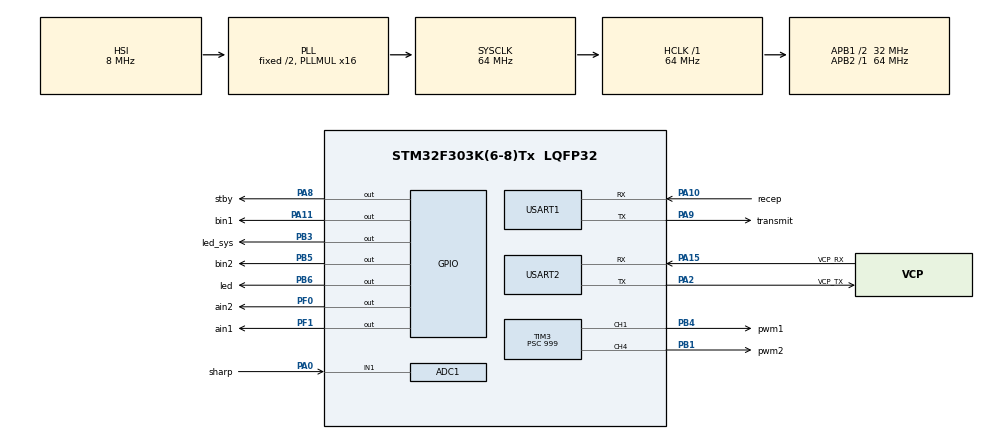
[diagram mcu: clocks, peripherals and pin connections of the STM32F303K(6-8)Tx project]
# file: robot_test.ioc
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ADC1.Channel-0\#ChannelRegularConversion=ADC_CHANNEL_1
ADC1.ClockPrescaler=ADC_CLOCK_ASYNC_DIV1
ADC1.ContinuousConvMode=DISABLE
ADC1.DMAContinuousRequests=DISABLE
ADC1.ExternalTrigConv=ADC_SOFTWARE_START
ADC1.NbrOfConversionFlag=1
ADC1.Offset-0\#ChannelRegularConversion=0
ADC1.OffsetNumber-0\#ChannelRegularConversion=ADC_OFFSET_NONE
ADC1.Rank-0\#ChannelRegularConversion=1
ADC1.SamplingTime-0\#ChannelRegularConversion=ADC_SAMPLETIME_7CYCLES_5
ADC1.SubFamily=STM32F303x8
ADC1.master=1
FREERTOS.Tasks01=defaultTask,0,128,StartDefaultTask,Default,NULL,Dynamic,NULL,NULL;motor_task,-3,256,motor,As weak,NULL,Dynamic,NULL,NULL;adc_dma_task,-3,256,adcControl,As weak,NULL,Dynamic,NULL,NULL;uart_task,-3,256,uart,As weak,NULL,Dynamic,NULL,NULL
FREERTOS.configTOTAL_HEAP_SIZE=9216
Mcu.Family=STM32F3
Mcu.Name=STM32F303K(6-8)Tx
Mcu.Package=LQFP32
NVIC.ADC1_2_IRQn=true\:5\:0\:false\:false\:true\:true
NVIC.PriorityGroup=NVIC_PRIORITYGROUP_4
NVIC.TIM1_BRK_TIM15_IRQn=true\:0\:0\:false\:false\:true\:false
NVIC.TimeBase=TIM1_BRK_TIM15_IRQn
NVIC.TimeBaseIP=TIM15
PA0.GPIO_Label=sharp
PA0.Mode=IN1-Single-Ended
PA0.Signal=ADC1_IN1
PA10.GPIO_Label=recep
PA10.Mode=Asynchronous
PA10.Signal=USART1_RX
PA11.GPIO_Label=bin1
PA11.Signal=GPIO_Output
PA13.GPIO_Label=SWDIO
PA13.Signal=SYS_JTMS-SWDIO
PA14.GPIO_Label=SWCLK
PA14.Signal=SYS_JTCK-SWCLK
PA15.GPIO_Label=VCP_RX
PA15.Mode=Asynchronous
PA15.Signal=USART2_RX
PA2.GPIO_Label=VCP_TX
PA2.Mode=Asynchronous
PA2.Signal=USART2_TX
PA8.GPIO_Label=stby
PA8.Signal=GPIO_Output
PA9.GPIO_Label=transmit
PA9.Mode=Asynchronous
PA9.Signal=USART1_TX
PB1.GPIO_Label=pwm2
PB1.Signal=S_TIM3_CH4
PB3.GPIO_Label=led_sys
PB3.Signal=GPIO_Output
PB4.GPIO_Label=pwm1
PB4.Signal=S_TIM3_CH1
PB5.GPIO_Label=bin2
PB5.Signal=GPIO_Output
PB6.GPIO_Label=led
PB6.GPIO_ModeDefaultOutputPP=GPIO_MODE_OUTPUT_OD
PB6.Signal=GPIO_Output
PF0\ /\ OSC_IN.GPIO_Label=ain2
PF0\ /\ OSC_IN.Signal=GPIO_Output
PF1\ /\ OSC_OUT.GPIO_Label=ain1
PF1\ /\ OSC_OUT.Signal=GPIO_Output
ProjectManager.HeapSize=0x200
ProjectManager.StackSize=0x400
ProjectManager.TargetToolchain=Makefile
RCC.AHBFreq_Value=64000000
RCC.APB1CLKDivider=RCC_HCLK_DIV2
RCC.APB1Freq_Value=32000000
RCC.APB1TimFreq_Value=64000000
RCC.APB2Freq_Value=64000000
RCC.APB2TimFreq_Value=64000000
RCC.CortexFreq_Value=64000000
RCC.HCLKFreq_Value=64000000
RCC.HSE_VALUE=8000000
RCC.HSI_VALUE=8000000
RCC.PLLMUL=RCC_PLL_MUL16
RCC.SYSCLKFreq_VALUE=64000000
RCC.SYSCLKSourceVirtual=RCC_SYSCLKSOURCE_PLLCLK
SH.S_TIM3_CH1.0=TIM3_CH1,PWM Generation1 CH1
SH.S_TIM3_CH4.0=TIM3_CH4,PWM Generation4 CH4
TIM3.Channel-PWM\ Generation1\ CH1=TIM_CHANNEL_1
TIM3.Channel-PWM\ Generation4\ CH4=TIM_CHANNEL_4
TIM3.ClockDivision=TIM_CLOCKDIVISION_DIV1
TIM3.Period=639
TIM3.Prescaler=999
TIM3.Pulse-PWM\ Generation1\ CH1=319
TIM3.Pulse-PWM\ Generation4\ CH4=319
USART1.VirtualMode-Asynchronous=VM_ASYNC
USART2.VirtualMode-Asynchronous=VM_ASYNC
VP_FREERTOS_VS_ENABLE.Mode=Enabled
VP_SYS_VS_tim15.Mode=TIM15
board=NUCLEO-F303K8

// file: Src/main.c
/**
  ******************************************************************************
  * File Name          : main.c
  * Description        : Main program body
  ******************************************************************************
  * This notice applies to any and all portions of this file
  * that are not between comment pairs USER CODE BEGIN and
  * USER CODE END. Other portions of this file, whether
  * inserted by the user or by software development tools
  * are owned by their respective copyright owners.
  *
  * Copyright (c) 2017 STMicroelectronics International N.V.
  * All rights reserved.
  *
  * Redistribution and use in source and binary forms, with or without
  * modification, are permitted, provided that the following conditions are met:
  *
  * 1. Redistribution of source code must retain the above copyright notice,
  *    this list of conditions and the following disclaimer.
  * 2. Redistributions in binary form must reproduce the above copyright notice,
  *    this list of conditions and the following disclaimer in the documentation
  *    and/or other materials provided with the distribution.
  * 3. Neither the name of STMicroelectronics nor the names of other
  *    contributors to this software may be used to endorse or promote products
  *    derived from this software without specific written permission.
  * 4. This software, including modifications and/or derivative works of this
  *    software, must execute solely and exclusively on microcontroller or
  *    microprocessor devices manufactured by or for STMicroelectronics.
  * 5. Redistribution and use of this software other than as permitted under
  *    this license is void and will automatically terminate your rights under
  *    this license.
  *
  * THIS SOFTWARE IS PROVIDED BY STMICROELECTRONICS AND CONTRIBUTORS "AS IS"
  * AND ANY EXPRESS, IMPLIED OR STATUTORY WARRANTIES, INCLUDING, BUT NOT
  * LIMITED TO, THE IMPLIED WARRANTIES OF MERCHANTABILITY, FITNESS FOR A
  * PARTICULAR PURPOSE AND NON-INFRINGEMENT OF THIRD PARTY INTELLECTUAL PROPERTY
  * RIGHTS ARE DISCLAIMED TO THE FULLEST EXTENT PERMITTED BY LAW. IN NO EVENT
  * SHALL STMICROELECTRONICS OR CONTRIBUTORS BE LIABLE FOR ANY DIRECT, INDIRECT,
  * INCIDENTAL, SPECIAL, EXEMPLARY, OR CONSEQUENTIAL DAMAGES (INCLUDING, BUT NOT
  * LIMITED TO, PROCUREMENT OF SUBSTITUTE GOODS OR SERVICES; LOSS OF USE, DATA,
  * OR PROFITS; OR BUSINESS INTERRUPTION) HOWEVER CAUSED AND ON ANY THEORY OF
  * LIABILITY, WHETHER IN CONTRACT, STRICT LIABILITY, OR TORT (INCLUDING
  * NEGLIGENCE OR OTHERWISE) ARISING IN ANY WAY OUT OF THE USE OF THIS SOFTWARE,
  * EVEN IF ADVISED OF THE POSSIBILITY OF SUCH DAMAGE.
  *
  ******************************************************************************
  */
#include "main.h"
#include "stm32f3xx_hal.h"
#include "cmsis_os.h"

ADC_HandleTypeDef hadc1;

TIM_HandleTypeDef htim3;

UART_HandleTypeDef huart1;
UART_HandleTypeDef huart2;

osThreadId defaultTaskHandle;
osThreadId motor_taskHandle;
osThreadId adc_dma_taskHandle;
osThreadId uart_taskHandle;

/* USER CODE BEGIN PV */
/* Private variables ---------------------------------------------------------*/

/* USER CODE END PV */

void SystemClock_Config(void);
static void MX_GPIO_Init(void);
static void MX_TIM3_Init(void);
static void MX_ADC1_Init(void);
static void MX_USART2_UART_Init(void);
static void MX_USART1_UART_Init(void);
void StartDefaultTask(void const * argument);
void motor(void const * argument);
void adcControl(void const * argument);
void uart(void const * argument);

void HAL_TIM_MspPostInit(TIM_HandleTypeDef *htim);

/* USER CODE BEGIN PFP */
/* Private function prototypes -----------------------------------------------*/

/* USER CODE END PFP */

int main(void)
{

  /* MCU Configuration----------------------------------------------------------*/

  /* Reset of all peripherals, Initializes the Flash interface and the Systick. */
  HAL_Init();

  /* Configure the system clock */
  SystemClock_Config();

  /* Initialize all configured peripherals */
  MX_GPIO_Init();
  MX_TIM3_Init();
  MX_ADC1_Init();
  MX_USART2_UART_Init();
  MX_USART1_UART_Init();

  /* Create the thread(s) */
  /* definition and creation of defaultTask */
  osThreadDef(defaultTask, StartDefaultTask, osPriorityNormal, 0, 128);
  defaultTaskHandle = osThreadCreate(osThread(defaultTask), NULL);

  /* definition and creation of motor_task */
  osThreadDef(motor_task, motor, osPriorityIdle, 0, 256);
  motor_taskHandle = osThreadCreate(osThread(motor_task), NULL);

  /* definition and creation of adc_dma_task */
  osThreadDef(adc_dma_task, adcControl, osPriorityIdle, 0, 256);
  adc_dma_taskHandle = osThreadCreate(osThread(adc_dma_task), NULL);

  /* definition and creation of uart_task */
  osThreadDef(uart_task, uart, osPriorityIdle, 0, 256);
  uart_taskHandle = osThreadCreate(osThread(uart_task), NULL);

  /* Start scheduler */
  osKernelStart();

  /* We should never get here as control is now taken by the scheduler */

  /* Infinite loop */
  while (1)
  {

  }

}

/** System Clock Configuration
*/
void SystemClock_Config(void)
{

  RCC_OscInitTypeDef RCC_OscInitStruct;
  RCC_ClkInitTypeDef RCC_ClkInitStruct;
  RCC_PeriphCLKInitTypeDef PeriphClkInit;

    /**Initializes the CPU, AHB and APB busses clocks
    */
  RCC_OscInitStruct.OscillatorType = RCC_OSCILLATORTYPE_HSI;
  RCC_OscInitStruct.HSIState = RCC_HSI_ON;
  RCC_OscInitStruct.HSICalibrationValue = 16;
  RCC_OscInitStruct.PLL.PLLState = RCC_PLL_ON;
  RCC_OscInitStruct.PLL.PLLSource = RCC_PLLSOURCE_HSI;
  RCC_OscInitStruct.PLL.PLLMUL = RCC_PLL_MUL16;
  if (HAL_RCC_OscConfig(&RCC_OscInitStruct) != HAL_OK)
  {
    _Error_Handler(__FILE__, __LINE__);
  }

    /**Initializes the CPU, AHB and APB busses clocks
    */
  RCC_ClkInitStruct.ClockType = RCC_CLOCKTYPE_HCLK|RCC_CLOCKTYPE_SYSCLK
                              |RCC_CLOCKTYPE_PCLK1|RCC_CLOCKTYPE_PCLK2;
  RCC_ClkInitStruct.SYSCLKSource = RCC_SYSCLKSOURCE_PLLCLK;
  RCC_ClkInitStruct.AHBCLKDivider = RCC_SYSCLK_DIV1;
  RCC_ClkInitStruct.APB1CLKDivider = RCC_HCLK_DIV2;
  RCC_ClkInitStruct.APB2CLKDivider = RCC_HCLK_DIV1;

  if (HAL_RCC_ClockConfig(&RCC_ClkInitStruct, FLASH_LATENCY_2) != HAL_OK)
  {
    _Error_Handler(__FILE__, __LINE__);
  }

  PeriphClkInit.PeriphClockSelection = RCC_PERIPHCLK_USART1|RCC_PERIPHCLK_ADC12;
  PeriphClkInit.Usart1ClockSelection = RCC_USART1CLKSOURCE_PCLK1;
  PeriphClkInit.Adc12ClockSelection = RCC_ADC12PLLCLK_DIV1;
  if (HAL_RCCEx_PeriphCLKConfig(&PeriphClkInit) != HAL_OK)
  {
    _Error_Handler(__FILE__, __LINE__);
  }

    /**Configure the Systick interrupt time
    */
  HAL_SYSTICK_Config(HAL_RCC_GetHCLKFreq()/1000);

    /**Configure the Systick
    */
  HAL_SYSTICK_CLKSourceConfig(SYSTICK_CLKSOURCE_HCLK);

  /* SysTick_IRQn interrupt configuration */
  HAL_NVIC_SetPriority(SysTick_IRQn, 15, 0);
}

/* ADC1 init function */
static void MX_ADC1_Init(void)
{

  ADC_MultiModeTypeDef multimode;
  ADC_ChannelConfTypeDef sConfig;

    /**Common config
    */
  hadc1.Instance = ADC1;
  hadc1.Init.ClockPrescaler = ADC_CLOCK_ASYNC_DIV1;
  hadc1.Init.Resolution = ADC_RESOLUTION_12B;
  hadc1.Init.ScanConvMode = ADC_SCAN_DISABLE;
  hadc1.Init.ContinuousConvMode = DISABLE;
  hadc1.Init.DiscontinuousConvMode = DISABLE;
  hadc1.Init.ExternalTrigConvEdge = ADC_EXTERNALTRIGCONVEDGE_NONE;
  hadc1.Init.ExternalTrigConv = ADC_SOFTWARE_START;
  hadc1.Init.DataAlign = ADC_DATAALIGN_RIGHT;
  hadc1.Init.NbrOfConversion = 1;
  hadc1.Init.DMAContinuousRequests = DISABLE;
  hadc1.Init.EOCSelection = ADC_EOC_SINGLE_CONV;
  hadc1.Init.LowPowerAutoWait = DISABLE;
  hadc1.Init.Overrun = ADC_OVR_DATA_OVERWRITTEN;
  if (HAL_ADC_Init(&hadc1) != HAL_OK)
  {
    _Error_Handler(__FILE__, __LINE__);
  }

    /**Configure the ADC multi-mode
    */
  multimode.Mode = ADC_MODE_INDEPENDENT;
  if (HAL_ADCEx_MultiModeConfigChannel(&hadc1, &multimode) != HAL_OK)
  {
    _Error_Handler(__FILE__, __LINE__);
  }

    /**Configure Regular Channel
    */
  sConfig.Channel = ADC_CHANNEL_1;
  sConfig.Rank = 1;
  sConfig.SingleDiff = ADC_SINGLE_ENDED;
  sConfig.SamplingTime = ADC_SAMPLETIME_7CYCLES_5;
  sConfig.OffsetNumber = ADC_OFFSET_NONE;
  sConfig.Offset = 0;
  if (HAL_ADC_ConfigChannel(&hadc1, &sConfig) != HAL_OK)
  {
    _Error_Handler(__FILE__, __LINE__);
  }

}

/* TIM3 init function */
static void MX_TIM3_Init(void)
{

  TIM_MasterConfigTypeDef sMasterConfig;
  TIM_OC_InitTypeDef sConfigOC;

  htim3.Instance = TIM3;
  htim3.Init.Prescaler = 999;
  htim3.Init.CounterMode = TIM_COUNTERMODE_UP;
  htim3.Init.Period = 639;
  htim3.Init.ClockDivision = TIM_CLOCKDIVISION_DIV1;
  htim3.Init.AutoReloadPreload = TIM_AUTORELOAD_PRELOAD_DISABLE;
  if (HAL_TIM_PWM_Init(&htim3) != HAL_OK)
  {
    _Error_Handler(__FILE__, __LINE__);
  }

  sMasterConfig.MasterOutputTrigger = TIM_TRGO_RESET;
  sMasterConfig.MasterSlaveMode = TIM_MASTERSLAVEMODE_DISABLE;
  if (HAL_TIMEx_MasterConfigSynchronization(&htim3, &sMasterConfig) != HAL_OK)
  {
    _Error_Handler(__FILE__, __LINE__);
  }

  sConfigOC.OCMode = TIM_OCMODE_PWM1;
  sConfigOC.Pulse = 319;
  sConfigOC.OCPolarity = TIM_OCPOLARITY_HIGH;
  sConfigOC.OCFastMode = TIM_OCFAST_DISABLE;
  if (HAL_TIM_PWM_ConfigChannel(&htim3, &sConfigOC, TIM_CHANNEL_1) != HAL_OK)
  {
    _Error_Handler(__FILE__, __LINE__);
  }

  if (HAL_TIM_PWM_ConfigChannel(&htim3, &sConfigOC, TIM_CHANNEL_4) != HAL_OK)
  {
    _Error_Handler(__FILE__, __LINE__);
  }

  HAL_TIM_MspPostInit(&htim3);

}

/* USART1 init function */
static void MX_USART1_UART_Init(void)
{

  huart1.Instance = USART1;
  huart1.Init.BaudRate = 38400;
  huart1.Init.WordLength = UART_WORDLENGTH_7B;
  huart1.Init.StopBits = UART_STOPBITS_1;
  huart1.Init.Parity = UART_PARITY_NONE;
  huart1.Init.Mode = UART_MODE_TX_RX;
  huart1.Init.HwFlowCtl = UART_HWCONTROL_NONE;
  huart1.Init.OverSampling = UART_OVERSAMPLING_16;
  huart1.Init.OneBitSampling = UART_ONE_BIT_SAMPLE_DISABLE;
  huart1.AdvancedInit.AdvFeatureInit = UART_ADVFEATURE_NO_INIT;
  if (HAL_UART_Init(&huart1) != HAL_OK)
  {
    _Error_Handler(__FILE__, __LINE__);
  }

}

/* USART2 init function */
static void MX_USART2_UART_Init(void)
{

  huart2.Instance = USART2;
  huart2.Init.BaudRate = 38400;
  huart2.Init.StopBits = UART_STOPBITS_1;
  huart2.Init.Parity = UART_PARITY_NONE;
  huart2.Init.Mode = UART_MODE_TX_RX;
  huart2.Init.HwFlowCtl = UART_HWCONTROL_NONE;
  huart2.Init.OverSampling = UART_OVERSAMPLING_16;
  huart2.Init.OneBitSampling = UART_ONE_BIT_SAMPLE_DISABLE;
  huart2.AdvancedInit.AdvFeatureInit = UART_ADVFEATURE_NO_INIT;
  if (HAL_UART_Init(&huart2) != HAL_OK)
  {
    _Error_Handler(__FILE__, __LINE__);
  }

}

/** Configure pins as
        * Analog
        * Input
        * Output
        * EVENT_OUT
        * EXTI
*/
static void MX_GPIO_Init(void)
{

  GPIO_InitTypeDef GPIO_InitStruct;

  /* GPIO Ports Clock Enable */
  __HAL_RCC_GPIOF_CLK_ENABLE();
  __HAL_RCC_GPIOA_CLK_ENABLE();
  __HAL_RCC_GPIOB_CLK_ENABLE();

  /*Configure GPIO pin Output Level */
  HAL_GPIO_WritePin(GPIOF, ain2_Pin|ain1_Pin, GPIO_PIN_RESET);

  /*Configure GPIO pin Output Level */
  HAL_GPIO_WritePin(GPIOA, stby_Pin|bin1_Pin, GPIO_PIN_RESET);

  /*Configure GPIO pin Output Level */
  HAL_GPIO_WritePin(GPIOB, led_sys_Pin|bin2_Pin|led_Pin, GPIO_PIN_RESET);

  /*Configure GPIO pins : ain2_Pin ain1_Pin */
  GPIO_InitStruct.Pin = ain2_Pin|ain1_Pin;
  GPIO_InitStruct.Mode = GPIO_MODE_OUTPUT_PP;
  GPIO_InitStruct.Pull = GPIO_NOPULL;
  GPIO_InitStruct.Speed = GPIO_SPEED_FREQ_LOW;
  HAL_GPIO_Init(GPIOF, &GPIO_InitStruct);

  /*Configure GPIO pins : stby_Pin bin1_Pin */
  GPIO_InitStruct.Pin = stby_Pin|bin1_Pin;
  GPIO_InitStruct.Mode = GPIO_MODE_OUTPUT_PP;
  GPIO_InitStruct.Pull = GPIO_NOPULL;
  GPIO_InitStruct.Speed = GPIO_SPEED_FREQ_LOW;
  HAL_GPIO_Init(GPIOA, &GPIO_InitStruct);

  /*Configure GPIO pins : led_sys_Pin bin2_Pin */
  GPIO_InitStruct.Pin = led_sys_Pin|bin2_Pin;
  GPIO_InitStruct.Mode = GPIO_MODE_OUTPUT_PP;
  GPIO_InitStruct.Pull = GPIO_NOPULL;
  GPIO_InitStruct.Speed = GPIO_SPEED_FREQ_LOW;
  HAL_GPIO_Init(GPIOB, &GPIO_InitStruct);

  /*Configure GPIO pin : led_Pin */
  GPIO_InitStruct.Pin = led_Pin;
  GPIO_InitStruct.Mode = GPIO_MODE_OUTPUT_OD;
  GPIO_InitStruct.Pull = GPIO_NOPULL;
  GPIO_InitStruct.Speed = GPIO_SPEED_FREQ_LOW;
  HAL_GPIO_Init(led_GPIO_Port, &GPIO_InitStruct);

}

/* StartDefaultTask function */
void StartDefaultTask(void const * argument)
{

  /* USER CODE BEGIN 5 */
  /* Infinite loop */
  for(;;)
  {
    HAL_GPIO_TogglePin(led_GPIO_Port, led_Pin);
    osDelay(1000);
  }
  /* USER CODE END 5 */
}

/* motor function */
__weak void motor(void const * argument)
{
  for(;;)
  {
    osDelay(1);
  }
}

/* adcControl function */
__weak void adcControl(void const * argument)
{
  for(;;)
  {
    osDelay(1);
  }
}

/* uart function */
__weak void uart(void const * argument)
{
  for(;;)
  {
    osDelay(1);
  }
}

void HAL_TIM_PeriodElapsedCallback(TIM_HandleTypeDef *htim)
{
  if (htim->Instance == TIM15) {
    HAL_IncTick();
  }
}

void _Error_Handler(char * file, int line)
{
  while(1)
  {
  }
}

/************************ (C) COPYRIGHT STMicroelectronics *****END OF FILE****/

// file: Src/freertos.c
/**
  ******************************************************************************
  * File Name          : freertos.c
  * Description        : Code for freertos applications
  ******************************************************************************
  * This notice applies to any and all portions of this file
  * that are not between comment pairs USER CODE BEGIN and
  * USER CODE END. Other portions of this file, whether
  * inserted by the user or by software development tools
  * are owned by their respective copyright owners.
  *
  * Copyright (c) 2017 STMicroelectronics International N.V.
  * All rights reserved.
  *
  * Redistribution and use in source and binary forms, with or without
  * modification, are permitted, provided that the following conditions are met:
  *
  * 1. Redistribution of source code must retain the above copyright notice,
  *    this list of conditions and the following disclaimer.
  * 2. Redistributions in binary form must reproduce the above copyright notice,
  *    this list of conditions and the following disclaimer in the documentation
  *    and/or other materials provided with the distribution.
  * 3. Neither the name of STMicroelectronics nor the names of other
  *    contributors to this software may be used to endorse or promote products
  *    derived from this software without specific written permission.
  * 4. This software, including modifications and/or derivative works of this
  *    software, must execute solely and exclusively on microcontroller or
  *    microprocessor devices manufactured by or for STMicroelectronics.
  * 5. Redistribution and use of this software other than as permitted under
  *    this license is void and will automatically terminate your rights under
  *    this license.
  *
  * THIS SOFTWARE IS PROVIDED BY STMICROELECTRONICS AND CONTRIBUTORS "AS IS"
  * AND ANY EXPRESS, IMPLIED OR STATUTORY WARRANTIES, INCLUDING, BUT NOT
  * LIMITED TO, THE IMPLIED WARRANTIES OF MERCHANTABILITY, FITNESS FOR A
  * PARTICULAR PURPOSE AND NON-INFRINGEMENT OF THIRD PARTY INTELLECTUAL PROPERTY
  * RIGHTS ARE DISCLAIMED TO THE FULLEST EXTENT PERMITTED BY LAW. IN NO EVENT
  * SHALL STMICROELECTRONICS OR CONTRIBUTORS BE LIABLE FOR ANY DIRECT, INDIRECT,
  * INCIDENTAL, SPECIAL, EXEMPLARY, OR CONSEQUENTIAL DAMAGES (INCLUDING, BUT NOT
  * LIMITED TO, PROCUREMENT OF SUBSTITUTE GOODS OR SERVICES; LOSS OF USE, DATA,
  * OR PROFITS; OR BUSINESS INTERRUPTION) HOWEVER CAUSED AND ON ANY THEORY OF
  * LIABILITY, WHETHER IN CONTRACT, STRICT LIABILITY, OR TORT (INCLUDING
  * NEGLIGENCE OR OTHERWISE) ARISING IN ANY WAY OUT OF THE USE OF THIS SOFTWARE,
  * EVEN IF ADVISED OF THE POSSIBILITY OF SUCH DAMAGE.
  *
  ******************************************************************************
  */

#include "FreeRTOS.h"
#include "task.h"

/* USER CODE BEGIN Includes */
#include "cmsis_os.h"
#include "main.h"
#include "stm32f3xx_hal.h"

#include <time.h>
#include <stdlib.h>

#define PWM_MAX 320
#define DELAY 1000
#define OK 0x06
/* USER CODE END Includes */

/* USER CODE BEGIN Variables */
extern TIM_HandleTypeDef htim3;
extern ADC_HandleTypeDef hadc1;
extern UART_HandleTypeDef huart2;
extern UART_HandleTypeDef huart1;

int flag_adc = 0;
uint32_t adcValue = 0;

int deplacement_fini = 0;

int flag_haut = 0;
int flag_bas = 0;
int flag_droite = 0;
int flag_gauche = 0;

struct Robot {
    int posx;
    int posy;
    int orientation;
};

struct Robot robot1, robot2; // Nous sommes robot1 et l'autre robot est  robot2

/* USER CODE END Variables */

/* USER CODE BEGIN FunctionPrototypes */

/* BEGIN Fonctions pour les moteurs */
void alumer_gauche(int sens) {
    HAL_GPIO_WritePin(ain1_GPIO_Port, ain1_Pin, !sens);
    HAL_GPIO_WritePin(ain2_GPIO_Port, ain2_Pin, sens);
}

void alumer_droite(int sens) {
    HAL_GPIO_WritePin(bin1_GPIO_Port, bin1_Pin, !sens);
    HAL_GPIO_WritePin(bin2_GPIO_Port, bin2_Pin, sens);
}

void eteindre_gauche() {
    HAL_GPIO_WritePin(ain1_GPIO_Port, ain1_Pin, 0);
    HAL_GPIO_WritePin(ain2_GPIO_Port, ain2_Pin, 0);
}

void eteindre_droite() {
    HAL_GPIO_WritePin(bin1_GPIO_Port, bin1_Pin, 0);
    HAL_GPIO_WritePin(bin2_GPIO_Port, bin2_Pin, 0);
}

void pwm_max() {
    __HAL_TIM_SET_COMPARE(&htim3, TIM_CHANNEL_1, PWM_MAX);
    __HAL_TIM_SET_COMPARE(&htim3, TIM_CHANNEL_4, PWM_MAX);
}

void accelerer() {
    int pwm = 0;
    while (pwm != PWM_MAX) {
        __HAL_TIM_SET_COMPARE(&htim3, TIM_CHANNEL_1, pwm);
        __HAL_TIM_SET_COMPARE(&htim3, TIM_CHANNEL_4, pwm);
        pwm += 20;
        osDelay(50);
    }
}

void deccelerer() {
    int pwm = PWM_MAX;
    while (pwm != 0) {
        __HAL_TIM_SET_COMPARE(&htim3, TIM_CHANNEL_1, pwm);
        __HAL_TIM_SET_COMPARE(&htim3, TIM_CHANNEL_4, pwm);
        pwm -= 20;
        osDelay(50);
    }
}

void reculer_robot() {
    alumer_droite(1);
    alumer_gauche(1);
    accelerer();
    osDelay(1000);
    deccelerer();
    eteindre_droite();
    eteindre_gauche();
    deplacement_fini = 1;
}

void avancer_robot() {
    alumer_droite(0);
    alumer_gauche(0);
    accelerer();
    osDelay(1000);
    deccelerer();
    eteindre_droite();
    eteindre_gauche();
    deplacement_fini = 1;

}

void pivoter_gauche() {
    pwm_max();
    alumer_gauche(1);
    alumer_droite(0);
    osDelay(230);
    deccelerer();
    eteindre_droite();
    eteindre_gauche();
    deplacement_fini = 1;
}

void pivoter_droite() {
    pwm_max();
    alumer_droite(1);
    alumer_gauche(0);
    osDelay(220);
    deccelerer();
    eteindre_droite();
    eteindre_gauche();
    deplacement_fini = 1;
}
/* END Fonctions pour les moteurs */

/* BEGIN Fonctions ADC */
void HAL_ADC_ConvCpltCallback(ADC_HandleTypeDef *hadc) {
    UNUSED(hadc);
    adcValue = HAL_ADC_GetValue(hadc);
    flag_adc = 1;
}

int _write(int file, char *ptr, int len) {
    UNUSED(file);

    HAL_UART_Transmit(&huart2, (uint8_t *) ptr, (uint16_t) len, 10000);
    return len;
}
/* END Fonctions ADC */

/* BEGIN Fonctions UART */
void EnvoiMessage(uint8_t data){
    uint8_t eun, b, edeux, equatre, ehuit,eseize, etrentedeux, esoixantequatre, ecentvingthuit, k, z;

    eun = (data & 0x01);
    edeux = (data & 0x02)/2;
    equatre =(data & 0x04)/4;
    ehuit = (data & 0x08)/8;
    eseize = (data & 0x10)/16;
    etrentedeux = (data & 0x20)/32;
    esoixantequatre = (data & 0x40)/64;
    ecentvingthuit = (data & 0x80)/128;

    b =  (ecentvingthuit^etrentedeux)*32 + (ecentvingthuit^esoixantequatre)*16 + (esoixantequatre^etrentedeux)*8 +ecentvingthuit*4 + esoixantequatre*2 + etrentedeux;
    k = (eseize^equatre)*32 +  (eseize^ehuit)*16 + (ehuit^equatre)*8 + eseize*4  + ehuit*2 + equatre;
    z = (0^eun)*32 + (0^edeux)*16 + (eun^edeux)*8 +edeux*2  + eun;

    HAL_UART_Transmit(&huart1, &b, sizeof(data), 0xEEEE);
    osDelay(2);
    HAL_UART_Transmit(&huart1, &k, sizeof(data), 0xEEEE);
    osDelay(2);
    HAL_UART_Transmit(&huart1, &z, sizeof(data), 0xEEEE);
    osDelay(2);
}

int ReceptionMessage(){
    uint8_t r, m, n, v, run, rdeux, rquatre, rhuit, rseize, rtrentedeux, ok, i;
    uint8_t rec[3];
    HAL_UART_Receive(&huart1, &r, sizeof(uint8_t), 0xEEEE);
    HAL_UART_Receive(&huart1, &m, sizeof(uint8_t), 0xEEEE);
    HAL_UART_Receive(&huart1, &n, sizeof(uint8_t), 0xEEEE);

    rec[0] = r;
    rec[1] = m;
    rec[2] = n;
    ok = 1;
    for (i =0; i<3; i++) {
        run = (rec[i] & 0x01);
        rdeux = (rec[i] & 0x02)/2;
        rquatre =(rec[i] & 0x04)/4;
        rhuit = (rec[i] & 0x08)/8;
        rseize = (rec[i] & 0x10)/16;
        rtrentedeux = (rec[i] & 0x20)/32;
        if ((run^rdeux) != rhuit) ok =0;
        if ((rdeux^rquatre) != rseize) ok =0;
        if ((rquatre^run) != rtrentedeux) ok = 0;
    }
    r =  (r & 0x07)*32;
    m =  (m & 0x07)*4;
    n =  (n & 0x07);
    v =  r + m + n;
    if (ok == 1) {
        for (int i = 0; i<5; i++) {
            HAL_GPIO_TogglePin(led_GPIO_Port, led_Pin);
            osDelay(500);
        }
        return(v);
    }
    else return(0);
}

void recoitpos(){
    uint8_t a, x, y, c;
    a = ReceptionMessage();
    x = a & 0xF0;
    y = a & 0x0F;
    c = ReceptionMessage();
    robot2.posx = x;
    robot2.posy = y;
    robot2.orientation = c;
}

void envoipos(uint8_t x, uint8_t y , uint8_t c){
     x = x*16 + y;
     EnvoiMessage(x);
     EnvoiMessage(c);
}

void Traduction(uint8_t msg){
    if (msg == 0x05) {
       envoipos(robot1.posx, robot1.posy, robot1.orientation);
    }

    if (msg == 0x06) {

    }

    if (msg == 0x07) {
        flag_haut = 1;
    }

    if (msg == 0x08) {
        flag_bas = 1;
    }

    if (msg == 0x09) {
        flag_droite = 1;
    }

    if (msg == 0x0A) {
        flag_gauche = 1;
    }

    if (msg == 0x0B) {
    }

    if (msg == 0x0C) {
    }

    if (msg == 0x0D) {
        uint8_t a;
        srand(time(NULL));
        a = rand()%100;
        EnvoiMessage(a);
    }

    if (msg == 0x10) {
    }

    if (msg == 0x11) {
    }

    if (msg == 0x12) {
    }

    if (msg == 0x13) {
    }
}

void WaitFor(uint8_t z) {
    while (z != ReceptionMessage()) ;
}

void TaPosition() {
    EnvoiMessage(0x05);
}

void ok() {
    EnvoiMessage(0x06);
}

void Monte() {
    EnvoiMessage(0x07);
    WaitFor(0x06);
}

void Descend() {
    EnvoiMessage(0x08);
    WaitFor(0x06);
}

void Droite() {
    EnvoiMessage(0x09);
    WaitFor(0x06);
}

void Gauche() {
    EnvoiMessage(0x0A);
    WaitFor(0x06);
}

void DansUnCoin() {
    EnvoiMessage(0x0B);
}

void Trouve() {
    EnvoiMessage(0x0C);
}

int Random() {
    int a, p;
    EnvoiMessage(0x0D);
    srand(time(NULL));
    a = rand()%256;
    if (ReceptionMessage() < a) {
        p = 1;
        EnvoiMessage(0x50);
    }
    else {
        p = 0;
        EnvoiMessage(0x67);
    }
    return(p);
}

void Non(){
    EnvoiMessage(0x10);
}

void MemeCase() {
    EnvoiMessage(0x12);
}

void TuEsCoin(){
    EnvoiMessage(0x13);
}
/* END Fonctions UART */

/* BEGIN Fonctions IA */
void deplacement(int distance)
{
  int i =0;
  if (distance > 0)
  {
    for (i = 0; i < distance; i++)
    {
      avancer_robot();
    }
  }
  else
  {
    for (i = 0; i < -distance; i++)
    {
      reculer_robot();
    }
  }
}
/* END Fonctions IA */

/* USER CODE END FunctionPrototypes */

/* Hook prototypes */

/* USER CODE BEGIN Application */
void motor(void const * argument)
{
  /* USER CODE BEGIN motor */
  UNUSED(argument);

  HAL_GPIO_WritePin(stby_GPIO_Port, stby_Pin, 1);
  HAL_TIM_Base_Start(&htim3);
  HAL_TIM_PWM_Start(&htim3, TIM_CHANNEL_1);
  HAL_TIM_PWM_Start(&htim3, TIM_CHANNEL_4);

  /* Infinite loop */
  for(;;)
  {
    deplacement(1);
    osDelay(DELAY);
    pivoter_droite();
    osDelay(DELAY);
    pivoter_droite();
    osDelay(DELAY);
    deplacement(1);
    osDelay(DELAY);
    pivoter_gauche();
    osDelay(DELAY);
    pivoter_gauche();
    osDelay(DELAY);
    deplacement(1);
    osDelay(DELAY);
    deplacement(-1);
    osDelay(DELAY);
  }
  /* USER CODE END motor */
}

void adcControl(void const * argument)
{
  /* USER CODE BEGIN adcControl */
  /* Infinite loop */
  for(;;)
  {
    HAL_ADC_Start_IT(&hadc1);
    osDelay(1000);
    if (flag_adc == 1) {
        printf("Value : %lu\n\r", adcValue);
        flag_adc = 0;
    }
  }
  /* USER CODE END adcControl */
}

void uart(void const * argument)
{
  /* USER CODE BEGIN uart */
  /* Infinite loop */
  for(;;)
  {
    pivoter_droite();
    ok();
    WaitFor(OK);

    //WaitFor(OK);
    //pivoter_droite();
    //ok();

    osDelay(1);
  }
  /* USER CODE END uart */
}
/* USER CODE END Application */

/************************ (C) COPYRIGHT STMicroelectronics *****END OF FILE****/
